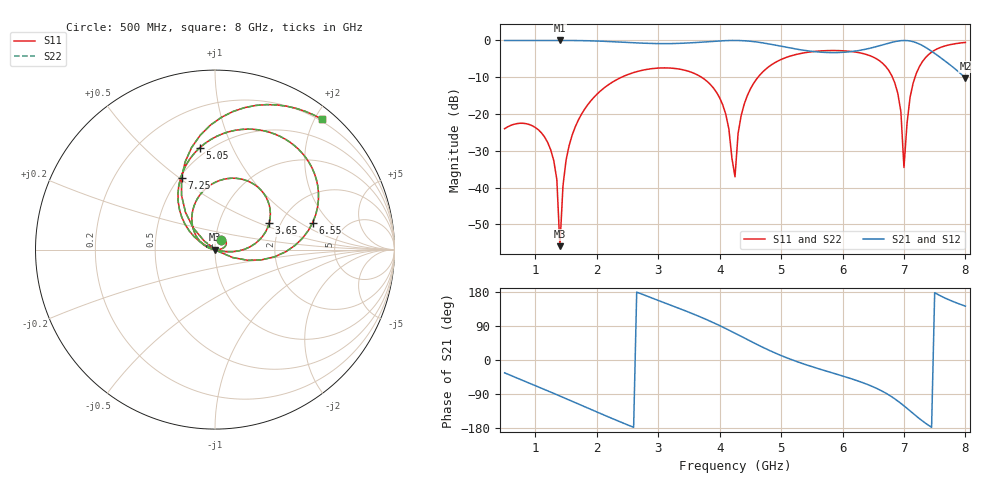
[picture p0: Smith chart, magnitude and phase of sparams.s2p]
! NobuRF pozar-ex3.5-stripline-long: ports 1 "p1", 2 "p2"; 35500 + 35500 steps
# GHz S RI R 50
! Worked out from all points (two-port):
!   151 points, 500 MHz to 8 GHz, reference 50 ohm
!   highest |S21| = 0.00 dB at 1.4 GHz (marker M1); lowest = -10.3 dB at 8 GHz (marker M2)
!   |S21| within 3 dB of the highest: start of sweep to 5.522 GHz; 6.155 GHz to 7.456 GHz (1.301 GHz wide, 19.1 % of centre)
!   lowest |S11| = -55.9 dB at 1.4 GHz (marker M3), VSWR 1.00, Z = 50.2 - j0.0141 ohm
!   |S11| at or under -10 dB: start of sweep to 2.402 GHz; 3.705 GHz to 4.625 GHz (919.2 MHz wide, 22.1 % of centre); 6.812 GHz to 7.181 GHz (368.2 MHz wide, 5.26 % of centre)
!   |S22| runs from -55.9 to -0.5 dB; largest |S21 - S12| = 5.2e-08
!   S11 on the Smith chart (normalised r, x): 500 MHz: 1.07, +0.11; 3.65 GHz: 1.74, +0.58; 5.05 GHz: 0.45, +0.76; 6.55 GHz: 2.96, +1.31; 7.25 GHz: 0.52, +0.51; 8 GHz: 0.17, +2.11
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0.5  0.0353 0.0525  0.8286 -0.5562  0.8286 -0.5562  0.0353 0.0525
1.2  0.0408 0.00627  0.1517 -0.9876  0.1517 -0.9876  0.0408 0.00627
1.35  0.0129 -0.000358  -0.0277 -0.9995  -0.0277 -0.9995  0.0129 -0.000357
1.4  0.0016 -0.000141  -0.088 -0.9961  -0.088 -0.9961  0.0016 -0.000141
1.5  -0.0231 0.0049  -0.2079 -0.9779  -0.2079 -0.9779  -0.0231 0.0049
1.75  -0.0862 0.0488  -0.4904 -0.8659  -0.4904 -0.8659  -0.0862 0.0488
2.35  -0.0974 0.2848  -0.9024 -0.3085  -0.9024 -0.3085  -0.0974 0.2848
3  0.1629 0.3889  -0.8363 0.3504  -0.8363 0.3504  0.1629 0.3889
3.65  0.3022 0.1483  -0.4148 0.8454  -0.4148 0.8454  0.3022 0.1483
4.05  0.1335 -0.00718  0.0533 0.9896  0.0533 0.9896  0.1335 -0.00718
4.25  -0.0133 0.00466  0.3302 0.9438  0.3302 0.9438  -0.0133 0.00466
4.3  -0.0498 0.0216  0.3972 0.9161  0.3972 0.9161  -0.0498 0.0216
4.45  -0.1438 0.1045  0.5785 0.7961  0.5785 0.7961  -0.1438 0.1045
5.05  -0.0847 0.5678  0.8098 0.1209  0.8098 0.1209  -0.0847 0.5678
5.5  0.211 0.6704  0.6784 -0.2134  0.6784 -0.2134  0.211 0.6704
6.55  0.5446 0.151  0.2205 -0.7945  0.2205 -0.7945  0.5446 0.151
6.75  0.3941 -0.0121  -0.0282 -0.9179  -0.0282 -0.9179  0.3941 -0.0121
6.95  0.0986 -0.0442  -0.4105 -0.9041  -0.4105 -0.9041  0.0986 -0.0442
7  0.0165 -0.00907  -0.5127 -0.8566  -0.5127 -0.8566  0.0164 -0.00907
7.1  -0.1206 0.1198  -0.6884 -0.7023  -0.6884 -0.7023  -0.1206 0.1198
7.25  -0.1866 0.397  -0.8084 -0.3848  -0.8084 -0.3848  -0.1866 0.397
8  0.5977 0.7253  -0.2419 0.1882  -0.2419 0.1882  0.5977 0.7254
